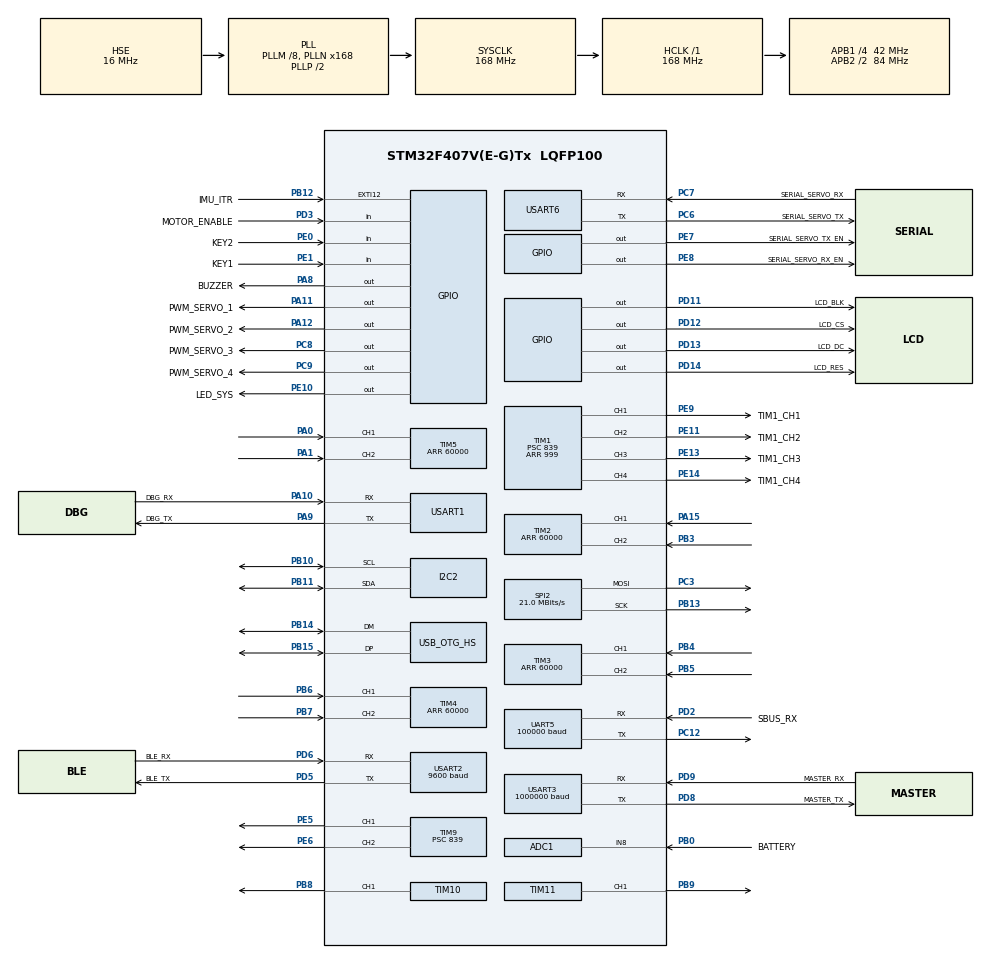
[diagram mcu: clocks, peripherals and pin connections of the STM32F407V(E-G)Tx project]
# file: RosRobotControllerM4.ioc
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ADC1.Channel-4\#ChannelRegularConversion=ADC_CHANNEL_VREFINT
ADC1.Channel-5\#ChannelRegularConversion=ADC_CHANNEL_8
ADC1.ClockPrescaler=ADC_CLOCK_SYNC_PCLK_DIV8
ADC1.ContinuousConvMode=DISABLE
ADC1.EOCSelection=ADC_EOC_SEQ_CONV
ADC1.NbrOfConversion=2
ADC1.NbrOfConversionFlag=1
ADC1.Rank-4\#ChannelRegularConversion=1
ADC1.Rank-5\#ChannelRegularConversion=2
ADC1.SamplingTime-4\#ChannelRegularConversion=ADC_SAMPLETIME_480CYCLES
ADC1.SamplingTime-5\#ChannelRegularConversion=ADC_SAMPLETIME_480CYCLES
ADC1.master=1
Dma.ADC1.8.Direction=DMA_PERIPH_TO_MEMORY
Dma.ADC1.8.FIFOMode=DMA_FIFOMODE_DISABLE
Dma.ADC1.8.Instance=DMA2_Stream0
Dma.ADC1.8.MemDataAlignment=DMA_MDATAALIGN_HALFWORD
Dma.ADC1.8.MemInc=DMA_MINC_ENABLE
Dma.ADC1.8.Mode=DMA_CIRCULAR
Dma.ADC1.8.PeriphDataAlignment=DMA_PDATAALIGN_HALFWORD
Dma.ADC1.8.PeriphInc=DMA_PINC_DISABLE
Dma.ADC1.8.Priority=DMA_PRIORITY_LOW
Dma.I2C2_RX.0.Direction=DMA_PERIPH_TO_MEMORY
Dma.I2C2_RX.0.FIFOMode=DMA_FIFOMODE_DISABLE
Dma.I2C2_RX.0.Instance=DMA1_Stream2
Dma.I2C2_RX.0.MemDataAlignment=DMA_MDATAALIGN_BYTE
Dma.I2C2_RX.0.MemInc=DMA_MINC_ENABLE
Dma.I2C2_RX.0.Mode=DMA_NORMAL
Dma.I2C2_RX.0.PeriphDataAlignment=DMA_PDATAALIGN_BYTE
Dma.I2C2_RX.0.PeriphInc=DMA_PINC_DISABLE
Dma.I2C2_RX.0.Priority=DMA_PRIORITY_VERY_HIGH
Dma.I2C2_TX.1.Direction=DMA_MEMORY_TO_PERIPH
Dma.I2C2_TX.1.FIFOMode=DMA_FIFOMODE_DISABLE
Dma.I2C2_TX.1.Instance=DMA1_Stream7
Dma.I2C2_TX.1.MemDataAlignment=DMA_MDATAALIGN_BYTE
Dma.I2C2_TX.1.MemInc=DMA_MINC_ENABLE
Dma.I2C2_TX.1.Mode=DMA_NORMAL
Dma.I2C2_TX.1.PeriphDataAlignment=DMA_PDATAALIGN_BYTE
Dma.I2C2_TX.1.PeriphInc=DMA_PINC_DISABLE
Dma.I2C2_TX.1.Priority=DMA_PRIORITY_VERY_HIGH
Dma.Request0=I2C2_RX
Dma.Request1=I2C2_TX
Dma.Request2=UART5_RX
Dma.Request3=USART3_RX
Dma.Request4=USART3_TX
Dma.Request5=SPI2_TX
Dma.Request6=USART2_RX
Dma.Request7=USART2_TX
Dma.Request8=ADC1
Dma.SPI2_TX.5.Direction=DMA_MEMORY_TO_PERIPH
Dma.SPI2_TX.5.FIFOMode=DMA_FIFOMODE_DISABLE
Dma.SPI2_TX.5.Instance=DMA1_Stream4
Dma.SPI2_TX.5.MemDataAlignment=DMA_MDATAALIGN_BYTE
Dma.SPI2_TX.5.MemInc=DMA_MINC_ENABLE
Dma.SPI2_TX.5.Mode=DMA_NORMAL
Dma.SPI2_TX.5.PeriphDataAlignment=DMA_PDATAALIGN_BYTE
Dma.SPI2_TX.5.PeriphInc=DMA_PINC_DISABLE
Dma.SPI2_TX.5.Priority=DMA_PRIORITY_LOW
Dma.UART5_RX.2.Direction=DMA_PERIPH_TO_MEMORY
Dma.UART5_RX.2.FIFOMode=DMA_FIFOMODE_DISABLE
Dma.UART5_RX.2.Instance=DMA1_Stream0
Dma.UART5_RX.2.MemDataAlignment=DMA_MDATAALIGN_BYTE
Dma.UART5_RX.2.MemInc=DMA_MINC_ENABLE
Dma.UART5_RX.2.Mode=DMA_CIRCULAR
Dma.UART5_RX.2.PeriphDataAlignment=DMA_PDATAALIGN_BYTE
Dma.UART5_RX.2.PeriphInc=DMA_PINC_DISABLE
Dma.UART5_RX.2.Priority=DMA_PRIORITY_MEDIUM
Dma.USART2_RX.6.Direction=DMA_PERIPH_TO_MEMORY
Dma.USART2_RX.6.FIFOMode=DMA_FIFOMODE_DISABLE
Dma.USART2_RX.6.Instance=DMA1_Stream5
Dma.USART2_RX.6.MemDataAlignment=DMA_MDATAALIGN_BYTE
Dma.USART2_RX.6.MemInc=DMA_MINC_ENABLE
Dma.USART2_RX.6.Mode=DMA_NORMAL
Dma.USART2_RX.6.PeriphDataAlignment=DMA_PDATAALIGN_BYTE
Dma.USART2_RX.6.PeriphInc=DMA_PINC_DISABLE
Dma.USART2_RX.6.Priority=DMA_PRIORITY_MEDIUM
Dma.USART2_TX.7.Direction=DMA_MEMORY_TO_PERIPH
Dma.USART2_TX.7.FIFOMode=DMA_FIFOMODE_DISABLE
Dma.USART2_TX.7.Instance=DMA1_Stream6
Dma.USART2_TX.7.MemDataAlignment=DMA_MDATAALIGN_BYTE
Dma.USART2_TX.7.MemInc=DMA_MINC_ENABLE
Dma.USART2_TX.7.Mode=DMA_NORMAL
Dma.USART2_TX.7.PeriphDataAlignment=DMA_PDATAALIGN_BYTE
Dma.USART2_TX.7.PeriphInc=DMA_PINC_DISABLE
Dma.USART2_TX.7.Priority=DMA_PRIORITY_MEDIUM
Dma.USART3_RX.3.Direction=DMA_PERIPH_TO_MEMORY
Dma.USART3_RX.3.FIFOMode=DMA_FIFOMODE_DISABLE
Dma.USART3_RX.3.Instance=DMA1_Stream1
Dma.USART3_RX.3.MemDataAlignment=DMA_MDATAALIGN_BYTE
Dma.USART3_RX.3.MemInc=DMA_MINC_ENABLE
Dma.USART3_RX.3.Mode=DMA_CIRCULAR
Dma.USART3_RX.3.PeriphDataAlignment=DMA_PDATAALIGN_BYTE
Dma.USART3_RX.3.PeriphInc=DMA_PINC_DISABLE
Dma.USART3_RX.3.Priority=DMA_PRIORITY_HIGH
Dma.USART3_TX.4.Direction=DMA_MEMORY_TO_PERIPH
Dma.USART3_TX.4.FIFOMode=DMA_FIFOMODE_DISABLE
Dma.USART3_TX.4.Instance=DMA1_Stream3
Dma.USART3_TX.4.MemDataAlignment=DMA_MDATAALIGN_BYTE
Dma.USART3_TX.4.MemInc=DMA_MINC_ENABLE
Dma.USART3_TX.4.Mode=DMA_NORMAL
Dma.USART3_TX.4.PeriphDataAlignment=DMA_PDATAALIGN_BYTE
Dma.USART3_TX.4.PeriphInc=DMA_PINC_DISABLE
Dma.USART3_TX.4.Priority=DMA_PRIORITY_HIGH
FREERTOS.BinarySemaphores01=packet_tx_idle,Dynamic,NULL,;packet_rx_not_empty,Dynamic,NULL,;IMU_data_ready,Dynamic,NULL,;sbus_data_ready_01_,Dynamic,NULL,;spi_tx_finished,Dynamic,NULL,;bluetooth_tx_idle,Dynamic,NULL,;serial_servo_rx_complete,Dynamic,NULL,Available
FREERTOS.Events01=sbus_data_ready_event_,Static,sbus_data_ready_event_ControlBlock
FREERTOS.INCLUDE_vTaskCleanUpResources=1
FREERTOS.INCLUDE_xEventGroupSetBitFromISR=1
FREERTOS.Queues01=packet_tx_queue,64,void*,0,Static,packet_tx_queueBuffer,packet_tx_queueControlBlock;lvgl_event_queue,16,void*,0,Static,lvgl_event_queueBuffer,lvgl_event_queueControlBlock;moving_ctrl_queue,32,char,0,Static,moving_ctrl_queueBuffer,moving_ctrl_queueControlBlock;bluetooth_tx_queue,8,8,1,Static,bluetooth_tx_queueBuffer,bluetooth_tx_queueControlBlock
FREERTOS.Tasks01=defaultTask,8,128,StartDefaultTask,Default,NULL,Static,defaultTaskBuffer,defaultTaskControlBlock;imu_task,32,128,imu_task_entry,As weak,NULL,Static,imu_taskBuffer,imu_taskControlBlock;packet_tx_task,24,128,packet_tx_task_entry,As weak,NULL,Static,packet_tx_taskBuffer,packet_tx_taskControlBlock;packet_rx_task,24,256,packet_rx_task_entry,As weak,NULL,Static,packet_rx_taskBuffer,packet_rx_taskControlBlock;sbus_rx_task,24,128,sbus_rx_task_entry,As weak,NULL,Static,sbus_rx_taskBuffer,sbus_rx_taskControlBlock;gui_task,16,512,gui_task_entry,As weak,NULL,Static,gui_taskBuffer,gui_taskControlBlock;app_task,24,512,app_task_entry,As weak,NULL,Static,app_taskBuffer,app_taskControlBlock;bluetooth_task,24,128,bluetooth_task_entry,As weak,NULL,Static,bluetooth_taskBuffer,bluetooth_taskControlBlock
FREERTOS.Timers01=button_timer,button_timer_callback,osTimerPeriodic,As weak,NULL,Static,button_timerControlBlock;led_timer,led_timer_callback,osTimerPeriodic,As weak,NULL,Static,led_timerControlBlock;lvgl_timer,lvgl_timer_callback,osTimerPeriodic,As weak,NULL,Static,lvgl_timerControlBlock;buzzer_timer,buzzer_timer_callback,osTimerPeriodic,As weak,NULL,Static,buzzer_timerControlBlock;battery_check_timer,battery_check_timer_callback,osTimerPeriodic,As weak,NULL,Static,battery_check_timerControlBlock
FREERTOS.configENABLE_FPU=1
FREERTOS.configTIMER_QUEUE_LENGTH=10
FREERTOS.configTIMER_TASK_STACK_DEPTH=6144
FREERTOS.configTOTAL_HEAP_SIZE=12288
FREERTOS.configUSE_IDLE_HOOK=1
FREERTOS.configUSE_NEWLIB_REENTRANT=0
FREERTOS.configUSE_TICK_HOOK=1
I2C2.DutyCycle=I2C_DUTYCYCLE_16_9
I2C2.I2C_Mode=I2C_Fast
Mcu.Family=STM32F4
Mcu.Name=STM32F407V(E-G)Tx
Mcu.Package=LQFP100
NVIC.DMA1_Stream0_IRQn=true\:5\:0\:false\:true\:true\:1\:true\:false\:true\:true
NVIC.DMA1_Stream1_IRQn=true\:5\:0\:false\:true\:true\:2\:true\:false\:true\:true
NVIC.DMA1_Stream2_IRQn=true\:5\:0\:false\:true\:true\:3\:true\:false\:true\:true
NVIC.DMA1_Stream3_IRQn=true\:5\:0\:false\:true\:true\:4\:true\:false\:true\:true
NVIC.DMA1_Stream4_IRQn=true\:5\:0\:false\:false\:true\:true\:true\:true\:true
NVIC.DMA1_Stream5_IRQn=true\:5\:0\:false\:false\:true\:true\:true\:true\:true
NVIC.DMA1_Stream6_IRQn=true\:5\:0\:false\:false\:true\:true\:true\:true\:true
NVIC.DMA1_Stream7_IRQn=true\:5\:0\:false\:true\:true\:9\:true\:false\:true\:true
NVIC.EXTI15_10_IRQn=true\:5\:0\:false\:true\:true\:7\:true\:true\:false\:true
NVIC.OTG_HS_IRQn=true\:5\:0\:false\:false\:true\:true\:false\:true\:true
NVIC.PriorityGroup=NVIC_PRIORITYGROUP_4
NVIC.TIM2_IRQn=true\:5\:0\:false\:false\:true\:true\:true\:false\:true
NVIC.TIM3_IRQn=true\:5\:0\:false\:false\:true\:true\:true\:false\:true
NVIC.TIM4_IRQn=true\:5\:0\:false\:false\:true\:true\:true\:false\:true
NVIC.TIM5_IRQn=true\:5\:0\:false\:true\:true\:10\:true\:true\:false\:true
NVIC.TIM7_IRQn=true\:5\:0\:false\:true\:true\:12\:true\:true\:false\:true
NVIC.TIM8_BRK_TIM12_IRQn=true\:5\:0\:false\:false\:true\:true\:true\:false\:true
NVIC.TIM8_TRG_COM_TIM14_IRQn=true\:0\:0\:false\:false\:true\:false\:false\:true\:true
NVIC.TIM8_UP_TIM13_IRQn=true\:5\:0\:false\:true\:true\:8\:true\:true\:false\:true
NVIC.TimeBase=TIM8_TRG_COM_TIM14_IRQn
NVIC.TimeBaseIP=TIM14
NVIC.UART5_IRQn=true\:5\:0\:true\:true\:true\:11\:true\:true\:true\:true
NVIC.USART2_IRQn=true\:5\:0\:false\:true\:true\:5\:true\:true\:true\:true
NVIC.USART3_IRQn=true\:5\:0\:false\:true\:true\:6\:true\:true\:true\:true
NVIC.USART6_IRQn=true\:5\:0\:false\:true\:true\:13\:true\:true\:true\:true
PA0-WKUP.GPIO_PuPd=GPIO_PULLUP
PA0-WKUP.GPIO_Speed=GPIO_SPEED_FREQ_VERY_HIGH
PA0-WKUP.Signal=S_TIM5_CH1
PA1.GPIO_PuPd=GPIO_PULLUP
PA1.GPIO_Speed=GPIO_SPEED_FREQ_VERY_HIGH
PA1.Signal=S_TIM5_CH2
PA10.GPIO_Label=DBG_RX
PA10.Mode=Asynchronous
PA10.Signal=USART1_RX
PA11.GPIO_Label=PWM_SERVO_1
PA11.GPIO_Speed=GPIO_SPEED_FREQ_HIGH
PA11.PinState=GPIO_PIN_RESET
PA11.Signal=GPIO_Output
PA12.GPIO_Label=PWM_SERVO_2
PA12.GPIO_Speed=GPIO_SPEED_FREQ_HIGH
PA12.Signal=GPIO_Output
PA13.Signal=SYS_JTMS-SWDIO
PA14.Signal=SYS_JTCK-SWCLK
PA15.GPIO_PuPd=GPIO_PULLUP
PA15.GPIO_Speed=GPIO_SPEED_FREQ_VERY_HIGH
PA15.Signal=S_TIM2_CH1_ETR
PA8.GPIO_Label=BUZZER
PA8.GPIO_Speed=GPIO_SPEED_FREQ_VERY_HIGH
PA8.PinState=GPIO_PIN_RESET
PA8.Signal=GPIO_Output
PA9.GPIO_Label=DBG_TX
PA9.Mode=Asynchronous
PA9.Signal=USART1_TX
PB0.GPIO_Label=BATTERY
PB0.Signal=ADCx_IN8
PB10.GPIO_Pu=GPIO_PULLUP
PB10.Mode=I2C
PB10.Signal=I2C2_SCL
PB11.GPIO_Pu=GPIO_PULLUP
PB11.Mode=I2C
PB11.Signal=I2C2_SDA
PB12.GPIO_Label=IMU_ITR
PB12.Signal=GPXTI12
PB13.Mode=TX_Only_Simplex_Unidirect_Master
PB13.Signal=SPI2_SCK
PB14.Mode=Host_FS
PB14.Signal=USB_OTG_HS_DM
PB15.Mode=Host_FS
PB15.Signal=USB_OTG_HS_DP
PB3.GPIO_PuPd=GPIO_PULLUP
PB3.GPIO_Speed=GPIO_SPEED_FREQ_VERY_HIGH
PB3.Signal=S_TIM2_CH2
PB4.GPIO_Speed=GPIO_SPEED_FREQ_VERY_HIGH
PB4.Signal=S_TIM3_CH1
PB5.GPIO_Speed=GPIO_SPEED_FREQ_VERY_HIGH
PB5.Signal=S_TIM3_CH2
PB6.Signal=S_TIM4_CH1
PB7.Signal=S_TIM4_CH2
PB8.Signal=S_TIM10_CH1
PB9.GPIO_Speed=GPIO_SPEED_FREQ_HIGH
PB9.Signal=S_TIM11_CH1
PC12.Mode=Asynchronous
PC12.Signal=UART5_TX
PC3.Mode=TX_Only_Simplex_Unidirect_Master
PC3.Signal=SPI2_MOSI
PC6.GPIO_Label=SERIAL_SERVO_TX
PC6.Mode=Asynchronous
PC6.Signal=USART6_TX
PC7.GPIO_Label=SERIAL_SERVO_RX
PC7.Mode=Asynchronous
PC7.Signal=USART6_RX
PC8.GPIO_Label=PWM_SERVO_3
PC8.GPIO_Speed=GPIO_SPEED_FREQ_HIGH
PC8.PinState=GPIO_PIN_SET
PC8.Signal=GPIO_Output
PC9.GPIO_Label=PWM_SERVO_4
PC9.GPIO_Speed=GPIO_SPEED_FREQ_HIGH
PC9.Signal=GPIO_Output
PD11.GPIO_Label=LCD_BLK
PD11.GPIO_Speed=GPIO_SPEED_FREQ_VERY_HIGH
PD11.PinState=GPIO_PIN_SET
PD11.Signal=GPIO_Output
PD12.GPIO_Label=LCD_CS
PD12.GPIO_Speed=GPIO_SPEED_FREQ_VERY_HIGH
PD12.PinState=GPIO_PIN_SET
PD12.Signal=GPIO_Output
PD13.GPIO_Label=LCD_DC
PD13.GPIO_Speed=GPIO_SPEED_FREQ_VERY_HIGH
PD13.Signal=GPIO_Output
PD14.GPIO_Label=LCD_RES
PD14.GPIO_Speed=GPIO_SPEED_FREQ_VERY_HIGH
PD14.PinState=GPIO_PIN_SET
PD14.Signal=GPIO_Output
PD2.GPIO_Label=SBUS_RX
PD2.Mode=Asynchronous
PD2.Signal=UART5_RX
PD3.GPIO_Label=MOTOR_ENABLE
PD3.Signal=GPIO_Input
PD5.GPIO_Label=BLE_TX
PD5.Mode=Asynchronous
PD5.Signal=USART2_TX
PD6.GPIO_Label=BLE_RX
PD6.Mode=Asynchronous
PD6.Signal=USART2_RX
PD8.GPIO_Label=MASTER_TX
PD8.GPIO_PuPd=GPIO_NOPULL
PD8.Mode=Asynchronous
PD8.Signal=USART3_TX
PD9.GPIO_Label=MASTER_RX
PD9.GPIO_PuPd=GPIO_NOPULL
PD9.Mode=Asynchronous
PD9.Signal=USART3_RX
PE0.GPIO_Label=KEY2
PE0.Signal=GPIO_Input
PE1.GPIO_Label=KEY1
PE1.Signal=GPIO_Input
PE10.GPIO_Label=LED_SYS
PE10.GPIO_Speed=GPIO_SPEED_FREQ_MEDIUM
PE10.PinState=GPIO_PIN_SET
PE10.Signal=GPIO_Output
PE11.GPIO_Label=TIM1_CH2
PE11.GPIO_Speed=GPIO_SPEED_FREQ_HIGH
PE11.Signal=S_TIM1_CH2
PE13.GPIO_Label=TIM1_CH3
PE13.GPIO_Speed=GPIO_SPEED_FREQ_HIGH
PE13.Signal=S_TIM1_CH3
PE14.GPIO_Label=TIM1_CH4
PE14.GPIO_Speed=GPIO_SPEED_FREQ_HIGH
PE14.Signal=S_TIM1_CH4
PE5.Signal=S_TIM9_CH1
PE6.Signal=S_TIM9_CH2
PE7.GPIO_Label=SERIAL_SERVO_TX_EN
PE7.GPIO_Speed=GPIO_SPEED_FREQ_VERY_HIGH
PE7.Signal=GPIO_Output
PE8.GPIO_Label=SERIAL_SERVO_RX_EN
PE8.GPIO_Speed=GPIO_SPEED_FREQ_VERY_HIGH
PE8.Signal=GPIO_Output
PE9.GPIO_Label=TIM1_CH1
PE9.GPIO_Speed=GPIO_SPEED_FREQ_HIGH
PE9.Signal=S_TIM1_CH1
PH0-OSC_IN.Mode=HSE-External-Oscillator
PH0-OSC_IN.Signal=RCC_OSC_IN
PH1-OSC_OUT.Mode=HSE-External-Oscillator
PH1-OSC_OUT.Signal=RCC_OSC_OUT
ProjectManager.HeapSize=0x200
ProjectManager.StackSize=0x600
ProjectManager.TargetToolchain=MDK-ARM V5.32
RCC.48MHZClocksFreq_Value=48000000
RCC.AHBFreq_Value=168000000
RCC.APB1CLKDivider=RCC_HCLK_DIV4
RCC.APB1Freq_Value=42000000
RCC.APB1TimFreq_Value=84000000
RCC.APB2CLKDivider=RCC_HCLK_DIV2
RCC.APB2Freq_Value=84000000
RCC.APB2TimFreq_Value=168000000
RCC.CortexFreq_Value=168000000
RCC.EnbaleCSS=true
RCC.HCLKFreq_Value=168000000
RCC.HSE_VALUE=16000000
RCC.HSI_VALUE=16000000
RCC.LSE_VALUE=32768
RCC.PLLM=8
RCC.PLLN=168
RCC.PLLQ=7
RCC.SYSCLKFreq_VALUE=168000000
RCC.SYSCLKSource=RCC_SYSCLKSOURCE_PLLCLK
RCC.VCOOutputFreq_Value=336000000
SH.ADCx_IN8.0=ADC1_IN8,IN8
SH.S_TIM10_CH1.0=TIM10_CH1,PWM Generation1 CH1
SH.S_TIM11_CH1.0=TIM11_CH1,PWM Generation1 CH1
SH.S_TIM1_CH1.0=TIM1_CH1,PWM Generation1 CH1
SH.S_TIM1_CH2.0=TIM1_CH2,PWM Generation2 CH2
SH.S_TIM1_CH3.0=TIM1_CH3,PWM Generation3 CH3
SH.S_TIM1_CH4.0=TIM1_CH4,PWM Generation4 CH4
SH.S_TIM2_CH1_ETR.0=TIM2_CH1,Encoder_Interface
SH.S_TIM2_CH2.0=TIM2_CH2,Encoder_Interface
SH.S_TIM3_CH1.0=TIM3_CH1,Encoder_Interface
SH.S_TIM3_CH2.0=TIM3_CH2,Encoder_Interface
SH.S_TIM4_CH1.0=TIM4_CH1,Encoder_Interface
SH.S_TIM4_CH2.0=TIM4_CH2,Encoder_Interface
SH.S_TIM5_CH1.0=TIM5_CH1,Encoder_Interface
SH.S_TIM5_CH2.0=TIM5_CH2,Encoder_Interface
SH.S_TIM9_CH1.0=TIM9_CH1,PWM Generation1 CH1
SH.S_TIM9_CH2.0=TIM9_CH2,PWM Generation2 CH2
SPI2.BaudRatePrescaler=SPI_BAUDRATEPRESCALER_2
SPI2.CLKPhase=SPI_PHASE_1EDGE
SPI2.CLKPolarity=SPI_POLARITY_LOW
SPI2.CalculateBaudRate=21.0 MBits/s
SPI2.DataSize=SPI_DATASIZE_8BIT
SPI2.Direction=SPI_DIRECTION_2LINES
SPI2.FirstBit=SPI_FIRSTBIT_MSB
SPI2.Mode=SPI_MODE_MASTER
SPI2.VirtualType=VM_MASTER
TIM1.AutoReloadPreload=TIM_AUTORELOAD_PRELOAD_ENABLE
TIM1.Channel-PWM\ Generation1\ CH1=TIM_CHANNEL_1
TIM1.Channel-PWM\ Generation2\ CH2=TIM_CHANNEL_2
TIM1.Channel-PWM\ Generation3\ CH3=TIM_CHANNEL_3
TIM1.Channel-PWM\ Generation4\ CH4=TIM_CHANNEL_4
TIM1.OCFastMode_PWM-PWM\ Generation1\ CH1=TIM_OCFAST_ENABLE
TIM1.OCFastMode_PWM-PWM\ Generation2\ CH2=TIM_OCFAST_ENABLE
TIM1.OCFastMode_PWM-PWM\ Generation3\ CH3=TIM_OCFAST_ENABLE
TIM1.OCFastMode_PWM-PWM\ Generation4\ CH4=TIM_OCFAST_ENABLE
TIM1.Period=999
TIM1.Prescaler=839
TIM1.Pulse-PWM\ Generation1\ CH1=0
TIM1.Pulse-PWM\ Generation2\ CH2=0
TIM1.Pulse-PWM\ Generation3\ CH3=0
TIM1.Pulse-PWM\ Generation4\ CH4=0
TIM10.AutoReloadPreload=TIM_AUTORELOAD_PRELOAD_ENABLE
TIM10.Channel=TIM_CHANNEL_1
TIM10.OCFastMode_PWM=TIM_OCFAST_ENABLE
TIM10.Period=999
TIM10.Prescaler=839
TIM11.AutoReloadPreload=TIM_AUTORELOAD_PRELOAD_ENABLE
TIM11.Channel=TIM_CHANNEL_1
TIM11.OCFastMode_PWM=TIM_OCFAST_ENABLE
TIM11.Period=999
TIM11.Prescaler=839
TIM11.Pulse=0
TIM12.AutoReloadPreload=TIM_AUTORELOAD_PRELOAD_ENABLE
TIM12.Channel-Output\ Compare1\ No\ Output=TIM_CHANNEL_1
TIM12.OC1Preload=ENABLE
TIM12.OCMode_1=TIM_OCMODE_TIMING
TIM12.Period=99
TIM12.Prescaler=839
TIM12.Pulse-Output\ Compare1\ No\ Output=50
TIM13.AutoReloadPreload=TIM_AUTORELOAD_PRELOAD_ENABLE
TIM13.Channel=TIM_CHANNEL_1
TIM13.OC1Preload=ENABLE
TIM13.Period=4999
TIM13.Prescaler=83
TIM13.Pulse=0
TIM2.AutoReloadPreload=TIM_AUTORELOAD_PRELOAD_ENABLE
TIM2.EncoderMode=TIM_ENCODERMODE_TI12
TIM2.Period=60000
TIM3.AutoReloadPreload=TIM_AUTORELOAD_PRELOAD_ENABLE
TIM3.EncoderMode=TIM_ENCODERMODE_TI12
TIM3.Period=60000
TIM4.AutoReloadPreload=TIM_AUTORELOAD_PRELOAD_ENABLE
TIM4.EncoderMode=TIM_ENCODERMODE_TI12
TIM4.Period=60000
TIM5.AutoReloadPreload=TIM_AUTORELOAD_PRELOAD_ENABLE
TIM5.EncoderMode=TIM_ENCODERMODE_TI12
TIM5.Period=60000
TIM7.AutoReloadPreload=TIM_AUTORELOAD_PRELOAD_ENABLE
TIM7.Period=9999
TIM7.Prescaler=83
TIM9.AutoReloadPreload=TIM_AUTORELOAD_PRELOAD_ENABLE
TIM9.Channel-PWM\ Generation1\ CH1=TIM_CHANNEL_1
TIM9.Channel-PWM\ Generation2\ CH2=TIM_CHANNEL_2
TIM9.OCFastMode_PWM-PWM\ Generation1\ CH1=TIM_OCFAST_ENABLE
TIM9.OCFastMode_PWM-PWM\ Generation2\ CH2=TIM_OCFAST_ENABLE
TIM9.Period=999
TIM9.Prescaler=839
UART5.BaudRate=100000
UART5.Mode=MODE_RX
UART5.Parity=PARITY_EVEN
UART5.StopBits=UART_STOPBITS_2
UART5.VirtualMode=Asynchronous
UART5.WordLength=WORDLENGTH_9B
USART1.VirtualMode=VM_ASYNC
USART2.BaudRate=9600
USART2.VirtualMode=VM_ASYNC
USART3.BaudRate=1000000
USART3.VirtualMode=VM_ASYNC
USART6.VirtualMode=VM_ASYNC
USB_HOST.USBH_DEBUG_LEVEL-HID_HS=0
USB_HOST.USBH_HandleTypeDef-HID_HS=hUsbHostHS
USB_HOST.USBH_KEEP_CFG_DESCRIPTOR-HID_HS=1
USB_HOST.USBH_MAX_DATA_BUFFER-HID_HS=512
USB_HOST.USBH_MAX_NUM_CONFIGURATION-HID_HS=2
USB_HOST.USBH_MAX_NUM_ENDPOINTS-HID_HS=2
USB_HOST.USBH_MAX_NUM_INTERFACES-HID_HS=2
USB_HOST.USBH_MAX_NUM_SUPPORTED_CLASS-HID_HS=1
USB_HOST.USBH_MAX_SIZE_CONFIGURATION-HID_HS=512
USB_HOST.USBH_PROCESS_PRIO-HID_HS=osPriorityNormal
USB_HOST.USBH_PROCESS_STACK_SIZE-HID_HS=2048
USB_HOST.VirtualModeHS=Hid
USB_OTG_HS.Sof_enable-Host_FS=DISABLE
USB_OTG_HS.VirtualMode-Host_FS=Host_FS
USB_OTG_HS.dma_enable-Host_FS=DISABLE
VP_ADC1_Vref_Input.Mode=IN-Vrefint
VP_CRC_VS_CRC.Mode=CRC_Activate
VP_FREERTOS_VS_CMSIS_V2.Mode=CMSIS_V2
VP_SYS_VS_tim14.Mode=TIM14
VP_TIM10_VS_ClockSourceINT.Mode=Enable_Timer
VP_TIM11_VS_ClockSourceINT.Mode=Enable_Timer
VP_TIM12_VS_ClockSourceINT.Mode=Internal
VP_TIM12_VS_no_output1.Mode=Output Compare1 No Output
VP_TIM13_VS_ClockSourceINT.Mode=Enable_Timer
VP_TIM13_VS_no_output1.Mode=Output Compare1 No Output
VP_TIM1_VS_ClockSourceINT.Mode=Internal
VP_TIM7_VS_ClockSourceINT.Mode=Enable_Timer
VP_TIM9_VS_ClockSourceINT.Mode=Internal
VP_USB_HOST_VS_USB_HOST_HID_HS.Mode=HID_HS
board=custom

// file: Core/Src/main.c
/* USER CODE BEGIN Header */
/**
  ******************************************************************************
  * @file           : main.c
  * @brief          : Main program body
  ******************************************************************************
  * @attention
  *
  * <h2><center>&copy; Copyright (c) 2023 STMicroelectronics.
  * All rights reserved.</center></h2>
  *
  * This software component is licensed by ST under BSD 3-Clause license,
  * the "License"; You may not use this file except in compliance with the
  * License. You may obtain a copy of the License at:
  *                        opensource.org/licenses/BSD-3-Clause
  *
  * ********************************************
  *   main()??????????
  *
  *   ! ! ! ??
  *   ?????? FreeRTOS??
  *   ???????? Hiwonder/System?????app.c????app_task_entry()??????
  *   ??????????????????????STM32CubeMX??????
  *
  *   ! ! ! ??
  *   ?CubeMX????????
  *   ???????? ???????????????????CubeMX?????????????????? !!!
  *   (????CubeMX??????????)
  *
  *   / * USER CODE BEGIN xxx * /
  *   //????
  *   / * USER CODE END xxx * /
  *
  *
  * ********************************************
  *
  ******************************************************************************
  */
/* USER CODE END Header */
#include "main.h"
#include "cmsis_os.h"
#include "adc.h"
#include "crc.h"
#include "dma.h"
#include "i2c.h"
#include "spi.h"
#include "tim.h"
#include "usart.h"
#include "usb_host.h"
#include "gpio.h"

/* USER CODE BEGIN Includes */
#include "global.h"
#include "debug_uart.h"
#include "lwmem_porting.h"
#include "log.h"
#include <stdio.h>
/* USER CODE END Includes */

void SystemClock_Config(void);
void MX_FREERTOS_Init(void);
static void MX_NVIC_Init(void);

int main(void)
{

  /* USER CODE BEGIN 1 */
    //??????????
  LOG_INIT();
  lwmem_assignmem(lwmem_regions); /* ????????? */
  /* USER CODE END 1 */

  /* MCU Configuration--------------------------------------------------------*/

  /* Reset of all peripherals, Initializes the Flash interface and the Systick. */
  HAL_Init();

  /* Configure the system clock */
  SystemClock_Config();

  /* USER CODE BEGIN SysInit */
    //???IIC1
    __HAL_RCC_I2C1_CLK_ENABLE();
    //???DMA??
    __HAL_RCC_DMA1_CLK_ENABLE();
  /* USER CODE END SysInit */

  /* Initialize all configured peripherals */
  MX_GPIO_Init();
  MX_DMA_Init();
  MX_USART1_UART_Init();
  MX_SPI2_Init();
  MX_TIM1_Init();
  MX_TIM2_Init();
  MX_TIM5_Init();
  MX_TIM9_Init();
  MX_TIM10_Init();
  MX_TIM11_Init();
  MX_I2C2_Init();
  MX_UART5_Init();
  MX_USART2_UART_Init();
  MX_USART3_UART_Init();
  MX_USART6_UART_Init();
  MX_TIM7_Init();
  MX_TIM3_Init();
  MX_TIM4_Init();
  MX_TIM13_Init();
  MX_CRC_Init();
  MX_TIM12_Init();
  MX_ADC1_Init();

  /* Initialize interrupts */
  MX_NVIC_Init();
  /* USER CODE BEGIN 2 */
  //??????printf()??????????????????????
  LOG_DEBUG("Start...\r\n");
  /* USER CODE END 2 */

  /* Init scheduler */
  osKernelInitialize();

  /* Call init function for freertos objects (in cmsis_os2.c) */
  MX_FREERTOS_Init();

  /* USER CODE BEGIN RTOS_PreScheduler */
  /* 在调度器启动前完成 host_link 与遥测依赖，避免 imu_task 空指针/永久阻塞 */
  motors_init();
  buttons_init();
  packet_init();
  debug_uart_boot_banner();
  /* USER CODE END RTOS_PreScheduler */

  /* Start scheduler */
  osKernelStart();

  /* We should never get here as control is now taken by the scheduler */

  /* Infinite loop */
    while (1) {

    }
}

void SystemClock_Config(void)
{
  RCC_OscInitTypeDef RCC_OscInitStruct = {0};
  RCC_ClkInitTypeDef RCC_ClkInitStruct = {0};

  /** Configure the main internal regulator output voltage
  */
  __HAL_RCC_PWR_CLK_ENABLE();
  __HAL_PWR_VOLTAGESCALING_CONFIG(PWR_REGULATOR_VOLTAGE_SCALE1);

  /** Initializes the RCC Oscillators according to the specified parameters
  * in the RCC_OscInitTypeDef structure.
  */
  RCC_OscInitStruct.OscillatorType = RCC_OSCILLATORTYPE_HSE;
  RCC_OscInitStruct.HSEState = RCC_HSE_ON;
  RCC_OscInitStruct.PLL.PLLState = RCC_PLL_ON;
  RCC_OscInitStruct.PLL.PLLSource = RCC_PLLSOURCE_HSE;
  RCC_OscInitStruct.PLL.PLLM = 8;
  RCC_OscInitStruct.PLL.PLLN = 168;
  RCC_OscInitStruct.PLL.PLLP = RCC_PLLP_DIV2;
  RCC_OscInitStruct.PLL.PLLQ = 7;
  if (HAL_RCC_OscConfig(&RCC_OscInitStruct) != HAL_OK)
  {
    Error_Handler();
  }

  /** Initializes the CPU, AHB and APB buses clocks
  */
  RCC_ClkInitStruct.ClockType = RCC_CLOCKTYPE_HCLK|RCC_CLOCKTYPE_SYSCLK
                              |RCC_CLOCKTYPE_PCLK1|RCC_CLOCKTYPE_PCLK2;
  RCC_ClkInitStruct.SYSCLKSource = RCC_SYSCLKSOURCE_PLLCLK;
  RCC_ClkInitStruct.AHBCLKDivider = RCC_SYSCLK_DIV1;
  RCC_ClkInitStruct.APB1CLKDivider = RCC_HCLK_DIV4;
  RCC_ClkInitStruct.APB2CLKDivider = RCC_HCLK_DIV2;

  if (HAL_RCC_ClockConfig(&RCC_ClkInitStruct, FLASH_LATENCY_5) != HAL_OK)
  {
    Error_Handler();
  }

  /** Enables the Clock Security System
  */
  HAL_RCC_EnableCSS();
}

/**
  * @brief NVIC Configuration.
  * @retval None
  */
static void MX_NVIC_Init(void)
{
  /* DMA1_Stream0_IRQn interrupt configuration */
  HAL_NVIC_SetPriority(DMA1_Stream0_IRQn, 5, 0);
  HAL_NVIC_EnableIRQ(DMA1_Stream0_IRQn);
  /* DMA1_Stream1_IRQn interrupt configuration */
  HAL_NVIC_SetPriority(DMA1_Stream1_IRQn, 5, 0);
  HAL_NVIC_EnableIRQ(DMA1_Stream1_IRQn);
  /* DMA1_Stream2_IRQn interrupt configuration */
  HAL_NVIC_SetPriority(DMA1_Stream2_IRQn, 5, 0);
  HAL_NVIC_EnableIRQ(DMA1_Stream2_IRQn);
  /* DMA1_Stream3_IRQn interrupt configuration */
  HAL_NVIC_SetPriority(DMA1_Stream3_IRQn, 5, 0);
  HAL_NVIC_EnableIRQ(DMA1_Stream3_IRQn);
  /* USART2_IRQn interrupt configuration */
  HAL_NVIC_SetPriority(USART2_IRQn, 5, 0);
  HAL_NVIC_EnableIRQ(USART2_IRQn);
  /* USART3_IRQn interrupt configuration */
  HAL_NVIC_SetPriority(USART3_IRQn, 5, 0);
  HAL_NVIC_EnableIRQ(USART3_IRQn);
  /* EXTI15_10_IRQn interrupt configuration */
  HAL_NVIC_SetPriority(EXTI15_10_IRQn, 5, 0);
  HAL_NVIC_EnableIRQ(EXTI15_10_IRQn);
  /* TIM8_UP_TIM13_IRQn interrupt configuration */
  HAL_NVIC_SetPriority(TIM8_UP_TIM13_IRQn, 5, 0);
  HAL_NVIC_EnableIRQ(TIM8_UP_TIM13_IRQn);
  /* DMA1_Stream7_IRQn interrupt configuration */
  HAL_NVIC_SetPriority(DMA1_Stream7_IRQn, 5, 0);
  HAL_NVIC_EnableIRQ(DMA1_Stream7_IRQn);
  /* TIM5_IRQn interrupt configuration */
  HAL_NVIC_SetPriority(TIM5_IRQn, 5, 0);
  HAL_NVIC_EnableIRQ(TIM5_IRQn);
  /* UART5_IRQn interrupt configuration */
  HAL_NVIC_SetPriority(UART5_IRQn, 5, 0);
  HAL_NVIC_EnableIRQ(UART5_IRQn);
  /* TIM7_IRQn interrupt configuration */
  HAL_NVIC_SetPriority(TIM7_IRQn, 5, 0);
  HAL_NVIC_EnableIRQ(TIM7_IRQn);
  /* USART6_IRQn interrupt configuration */
  HAL_NVIC_SetPriority(USART6_IRQn, 5, 0);
  HAL_NVIC_EnableIRQ(USART6_IRQn);
}

void HAL_TIM_PeriodElapsedCallback(TIM_HandleTypeDef *htim)
{
  if (htim->Instance == TIM14) {
    HAL_IncTick();
  }
}

void Error_Handler(void)
{
    __disable_irq();
    while (1) {
    }
}

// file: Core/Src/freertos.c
/* USER CODE BEGIN Header */
/**
  ******************************************************************************
  * File Name          : freertos.c
  * Description        : Code for freertos applications
  ******************************************************************************
  * @attention
  *
  * <h2><center>&copy; Copyright (c) 2023 STMicroelectronics.
  * All rights reserved.</center></h2>
  *
  * This software component is licensed by ST under Ultimate Liberty license
  * SLA0044, the "License"; You may not use this file except in compliance with
  * the License. You may obtain a copy of the License at:
  *                             www.st.com/SLA0044
  *
  ******************************************************************************
  */
/* USER CODE END Header */

#include "FreeRTOS.h"
#include "task.h"
#include "main.h"
#include "cmsis_os.h"

/* USER CODE BEGIN Includes */
#include "global_conf.h"
#if ENABLE_LVGL
#include "lvgl.h"
#endif
/* USER CODE END Includes */

typedef StaticTask_t osStaticThreadDef_t;
typedef StaticQueue_t osStaticMessageQDef_t;
typedef StaticTimer_t osStaticTimerDef_t;
typedef StaticEventGroup_t osStaticEventGroupDef_t;

/* Definitions for defaultTask */
osThreadId_t defaultTaskHandle;
uint32_t defaultTaskBuffer[ 128 ];
osStaticThreadDef_t defaultTaskControlBlock;
const osThreadAttr_t defaultTask_attributes = {
  .name = "defaultTask",
  .cb_mem = &defaultTaskControlBlock,
  .cb_size = sizeof(defaultTaskControlBlock),
  .stack_mem = &defaultTaskBuffer[0],
  .stack_size = sizeof(defaultTaskBuffer),
  .priority = (osPriority_t) osPriorityLow,
};
/* Definitions for imu_task */
osThreadId_t imu_taskHandle;
uint32_t imu_taskBuffer[ 384 ];
osStaticThreadDef_t imu_taskControlBlock;
const osThreadAttr_t imu_task_attributes = {
  .name = "imu_task",
  .cb_mem = &imu_taskControlBlock,
  .cb_size = sizeof(imu_taskControlBlock),
  .stack_mem = &imu_taskBuffer[0],
  .stack_size = sizeof(imu_taskBuffer),
  .priority = (osPriority_t) osPriorityAboveNormal,
};
/* Definitions for packet_tx_task */
osThreadId_t packet_tx_taskHandle;
uint32_t packet_tx_taskBuffer[ 128 ];
osStaticThreadDef_t packet_tx_taskControlBlock;
const osThreadAttr_t packet_tx_task_attributes = {
  .name = "packet_tx_task",
  .cb_mem = &packet_tx_taskControlBlock,
  .cb_size = sizeof(packet_tx_taskControlBlock),
  .stack_mem = &packet_tx_taskBuffer[0],
  .stack_size = sizeof(packet_tx_taskBuffer),
  .priority = (osPriority_t) osPriorityNormal,
};
/* Definitions for packet_rx_task */
osThreadId_t packet_rx_taskHandle;
uint32_t packet_rx_taskBuffer[ 192 ];
osStaticThreadDef_t packet_rx_taskControlBlock;
const osThreadAttr_t packet_rx_task_attributes = {
  .name = "packet_rx_task",
  .cb_mem = &packet_rx_taskControlBlock,
  .cb_size = sizeof(packet_rx_taskControlBlock),
  .stack_mem = &packet_rx_taskBuffer[0],
  .stack_size = sizeof(packet_rx_taskBuffer),
  .priority = (osPriority_t) osPriorityNormal,
};
/* Definitions for app_task */
osThreadId_t app_taskHandle;
uint32_t app_taskBuffer[ 256 ];
osStaticThreadDef_t app_taskControlBlock;
const osThreadAttr_t app_task_attributes = {
  .name = "app_task",
  .cb_mem = &app_taskControlBlock,
  .cb_size = sizeof(app_taskControlBlock),
  .stack_mem = &app_taskBuffer[0],
  .stack_size = sizeof(app_taskBuffer),
  .priority = (osPriority_t) osPriorityNormal,
};
/* Definitions for packet_tx_queue */
osMessageQueueId_t packet_tx_queueHandle;
uint8_t packet_tx_queueBuffer[ 32 * sizeof( void* ) ];
osStaticMessageQDef_t packet_tx_queueControlBlock;
const osMessageQueueAttr_t packet_tx_queue_attributes = {
  .name = "packet_tx_queue",
  .cb_mem = &packet_tx_queueControlBlock,
  .cb_size = sizeof(packet_tx_queueControlBlock),
  .mq_mem = &packet_tx_queueBuffer,
  .mq_size = sizeof(packet_tx_queueBuffer)
};
/* Definitions for moving_ctrl_queue */
osMessageQueueId_t moving_ctrl_queueHandle;
uint8_t moving_ctrl_queueBuffer[ 32 * sizeof( char ) ];
osStaticMessageQDef_t moving_ctrl_queueControlBlock;
const osMessageQueueAttr_t moving_ctrl_queue_attributes = {
  .name = "moving_ctrl_queue",
  .cb_mem = &moving_ctrl_queueControlBlock,
  .cb_size = sizeof(moving_ctrl_queueControlBlock),
  .mq_mem = &moving_ctrl_queueBuffer,
  .mq_size = sizeof(moving_ctrl_queueBuffer)
};
/* Definitions for button_timer */
osTimerId_t button_timerHandle;
osStaticTimerDef_t button_timerControlBlock;
const osTimerAttr_t button_timer_attributes = {
  .name = "button_timer",
  .cb_mem = &button_timerControlBlock,
  .cb_size = sizeof(button_timerControlBlock),
};
/* Definitions for led_timer */
osTimerId_t led_timerHandle;
osStaticTimerDef_t led_timerControlBlock;
const osTimerAttr_t led_timer_attributes = {
  .name = "led_timer",
  .cb_mem = &led_timerControlBlock,
  .cb_size = sizeof(led_timerControlBlock),
};
/* Definitions for buzzer_timer */
osTimerId_t buzzer_timerHandle;
osStaticTimerDef_t buzzer_timerControlBlock;
const osTimerAttr_t buzzer_timer_attributes = {
  .name = "buzzer_timer",
  .cb_mem = &buzzer_timerControlBlock,
  .cb_size = sizeof(buzzer_timerControlBlock),
};
/* Definitions for battery_check_timer */
osTimerId_t battery_check_timerHandle;
osStaticTimerDef_t battery_check_timerControlBlock;
const osTimerAttr_t battery_check_timer_attributes = {
  .name = "battery_check_timer",
  .cb_mem = &battery_check_timerControlBlock,
  .cb_size = sizeof(battery_check_timerControlBlock),
};
/* Definitions for packet_tx_idle */
osSemaphoreId_t packet_tx_idleHandle;
const osSemaphoreAttr_t packet_tx_idle_attributes = {
  .name = "packet_tx_idle"
};
/* Definitions for packet_rx_not_empty */
osSemaphoreId_t packet_rx_not_emptyHandle;
const osSemaphoreAttr_t packet_rx_not_empty_attributes = {
  .name = "packet_rx_not_empty"
};
/* Definitions for IMU_data_ready */
osSemaphoreId_t IMU_data_readyHandle;
const osSemaphoreAttr_t IMU_data_ready_attributes = {
  .name = "IMU_data_ready"
};
/* Definitions for spi_tx_finished */
osSemaphoreId_t spi_tx_finishedHandle;
const osSemaphoreAttr_t spi_tx_finished_attributes = {
  .name = "spi_tx_finished"
};

void StartDefaultTask(void *argument);
void imu_task_entry(void *argument);
void packet_tx_task_entry(void *argument);
void packet_rx_task_entry(void *argument);
void sbus_rx_task_entry(void *argument);
void gui_task_entry(void *argument);
void app_task_entry(void *argument);
void bluetooth_task_entry(void *argument);
void button_timer_callback(void *argument);
void led_timer_callback(void *argument);
void lvgl_timer_callback(void *argument);
void buzzer_timer_callback(void *argument);
void battery_check_timer_callback(void *argument);

extern void MX_USB_HOST_Init(void);
void MX_FREERTOS_Init(void); /* (MISRA C 2004 rule 8.1) */

/* Hook prototypes */
void vApplicationIdleHook(void);
void vApplicationTickHook(void);

/* USER CODE BEGIN 2 */
void vApplicationIdleHook( void )
{
    /* vApplicationIdleHook() will only be called if configUSE_IDLE_HOOK is set
    to 1 in FreeRTOSConfig.h. It will be called on each iteration of the idle
    task. It is essential that code added to this hook function never attempts
    to block in any way (for example, call xQueueReceive() with a block time
    specified, or call vTaskDelay()). If the application makes use of the
    vTaskDelete() API function (as this demo application does) then it is also
    important that vApplicationIdleHook() is permitted to return to its calling
    function, because it is the responsibility of the idle task to clean up
    memory allocated by the kernel to any task that has since been deleted. */
}
/* USER CODE END 2 */

/* USER CODE BEGIN 3 */
void vApplicationTickHook( void )
{
#if ENABLE_LVGL
    lv_tick_inc(1);
#endif
}
/* USER CODE END 3 */

void MX_FREERTOS_Init(void) {

  /* Create the semaphores(s) */
  /* creation of packet_tx_idle */
  packet_tx_idleHandle = osSemaphoreNew(1, 0, &packet_tx_idle_attributes);
  packet_rx_not_emptyHandle = osSemaphoreNew(1, 0, &packet_rx_not_empty_attributes);
  IMU_data_readyHandle = osSemaphoreNew(1, 0, &IMU_data_ready_attributes);
  spi_tx_finishedHandle = osSemaphoreNew(1, 0, &spi_tx_finished_attributes);

  button_timerHandle = osTimerNew(button_timer_callback, osTimerPeriodic, NULL, &button_timer_attributes);
  led_timerHandle = osTimerNew(led_timer_callback, osTimerPeriodic, NULL, &led_timer_attributes);
  buzzer_timerHandle = osTimerNew(buzzer_timer_callback, osTimerPeriodic, NULL, &buzzer_timer_attributes);
  battery_check_timerHandle = osTimerNew(battery_check_timer_callback, osTimerPeriodic, NULL, &battery_check_timer_attributes);

  packet_tx_queueHandle = osMessageQueueNew(32, sizeof(void*), &packet_tx_queue_attributes);
  moving_ctrl_queueHandle = osMessageQueueNew(32, sizeof(char), &moving_ctrl_queue_attributes);

  defaultTaskHandle = osThreadNew(StartDefaultTask, NULL, &defaultTask_attributes);
  imu_taskHandle = osThreadNew(imu_task_entry, NULL, &imu_task_attributes);
  packet_tx_taskHandle = osThreadNew(packet_tx_task_entry, NULL, &packet_tx_task_attributes);
  packet_rx_taskHandle = osThreadNew(packet_rx_task_entry, NULL, &packet_rx_task_attributes);
  app_taskHandle = osThreadNew(app_task_entry, NULL, &app_task_attributes);
}

void StartDefaultTask(void *argument)
{
  /* init code for USB_HOST */
  MX_USB_HOST_Init();
    for(;;) {
        osDelay(1);
    }
}

__weak void imu_task_entry(void *argument)
{
    for(;;) {
        osDelay(1);
    }
}

__weak void packet_tx_task_entry(void *argument)
{
    for(;;) {
        osDelay(1);
    }
}

__weak void packet_rx_task_entry(void *argument)
{
    for(;;) {
        osDelay(1);
    }
}

__weak void sbus_rx_task_entry(void *argument)
{
    for(;;) {
        osDelay(1);
    }
}

__weak void gui_task_entry(void *argument)
{
  for(;;)
  {
    osDelay(1);
  }
}

__weak void app_task_entry(void *argument)
{
  for(;;)
  {
    osDelay(1);
  }
}

__weak void bluetooth_task_entry(void *argument)
{
  for(;;)
  {
    osDelay(1);
  }
}

/* button_timer_callback function */
__weak void button_timer_callback(void *argument)
{
}

/* led_timer_callback function */
__weak void led_timer_callback(void *argument)
{
}

/* lvgl_timer_callback function */
__weak void lvgl_timer_callback(void *argument)
{
}

/* buzzer_timer_callback function */
__weak void buzzer_timer_callback(void *argument)
{
}

/* battery_check_timer_callback function */
__weak void battery_check_timer_callback(void *argument)
{
}
